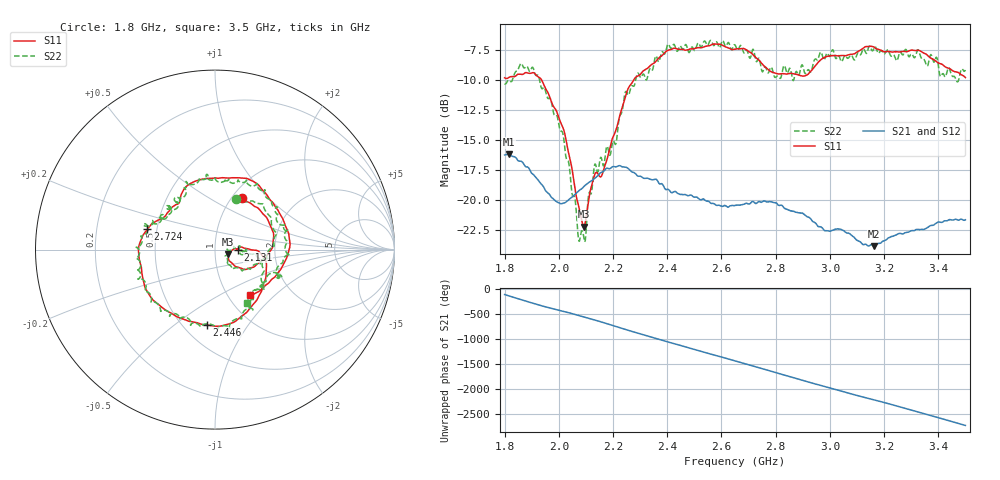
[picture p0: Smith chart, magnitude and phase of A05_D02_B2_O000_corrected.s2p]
! Created with skrf 1.9.0 (http://scikit-rf.org).
# Hz S RI R 50.0
!freq ReS11 ImS11 ReS21 ImS21 ReS12 ImS12 ReS22 ImS22
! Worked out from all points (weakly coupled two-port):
!   1601 points, 1.8 GHz to 3.5 GHz, reference 50 ohm
!   highest |S21| = -16.23 dB at 1.815 GHz (marker M1); lowest = -23.9 dB at 3.163 GHz (marker M2)
!   lowest |S11| = -22.2 dB at 2.092 GHz (marker M3), VSWR 1.17, Z = 57.8 - j2.83 ohm
!   |S11| at or under -10 dB: 1.936 GHz to 2.277 GHz (341 MHz wide, 16.2 % of centre)
!   |S22| runs from -23.5 to -6.7 dB; largest |S21 - S12| = 0.0026
!   S11 on the Smith chart (normalised r, x): 1.8 GHz: 1.11, +0.71; 2.131 GHz: 1.29, +0.00; 2.446 GHz: 0.65, -0.66; 2.724 GHz: 0.44, +0.12; 3.5 GHz: 1.26, -0.72
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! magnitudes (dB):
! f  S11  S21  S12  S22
! 1.8 GHz  -9.8  -16.3  -16.3  -10.3
! 1.815 GHz  -9.8  -16.2  -16.2  -10.0
! 1.902 GHz  -9.4  -17.8  -17.8  -9.0
! 1.968 GHz  -11.5  -19.6  -19.7  -11.5
! 2.021 GHz  -14.4  -20.3  -20.3  -15.5
! 2.072 GHz  -20.4  -19.3  -19.3  -23.2
! 2.084 GHz  -21.6  -19.1  -19.0  -22.6
! 2.092 GHz  -22.2  -18.9  -19.0  -23.2
! 2.131 GHz  -18.0  -18.2  -18.2  -17.1
! 2.16 GHz  -17.9  -17.7  -17.6  -16.9
! 2.208 GHz  -14.4  -17.3  -17.2  -15.4
! 2.259 GHz  -10.6  -17.5  -17.5  -11.2
! 2.367 GHz  -8.2  -18.6  -18.5  -8.5
! 2.446 GHz  -7.5  -19.5  -19.5  -7.2
! 2.65 GHz  -7.5  -20.5  -20.4  -7.1
! 2.724 GHz  -8.1  -20.3  -20.2  -8.1
! 2.804 GHz  -9.5  -20.3  -20.3  -9.7
! 2.934 GHz  -9.2  -21.8  -21.7  -9.1
! 3.163 GHz  -7.3  -23.9  -23.8  -7.3
! 3.217 GHz  -7.6  -23.2  -23.1  -7.6
! 3.468 GHz  -9.4  -21.7  -21.6  -10.1
! 3.5 GHz  -9.8  -21.7  -21.6  -9.2
